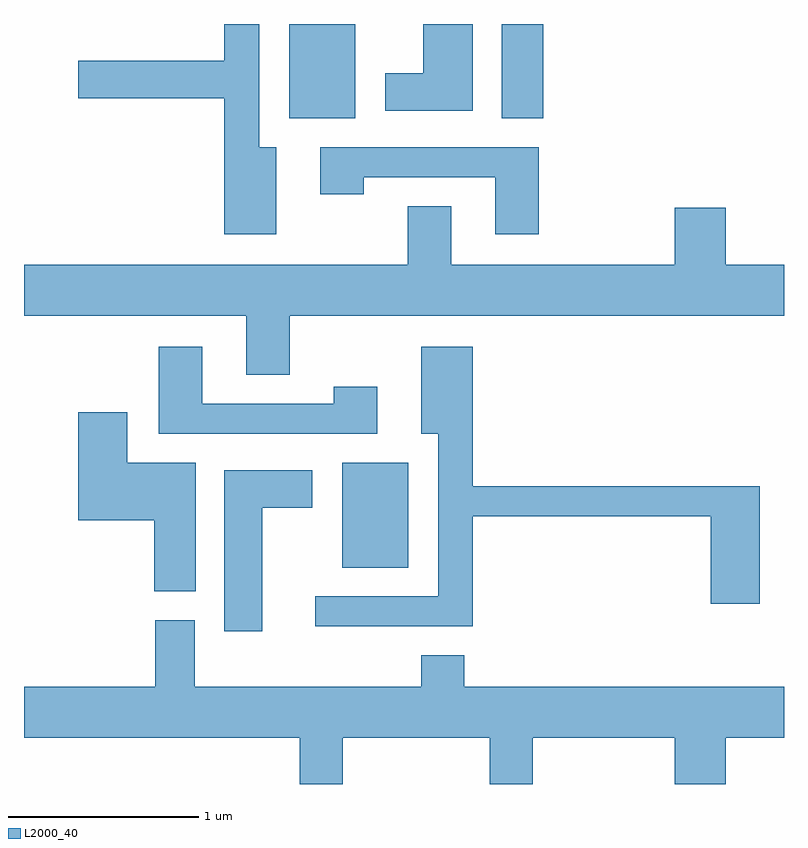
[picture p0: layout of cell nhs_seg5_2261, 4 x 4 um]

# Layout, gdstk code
import gdstk
lib = gdstk.Library(unit=1e-6, precision=1e-09)
def R(c, l, rs):  # rectangles x0, y0, x1, y1
    for r in rs: c.add(gdstk.rectangle(r[:2], r[2:], *l))
def P(c, l, *ps):  # polygons
    for p in ps: c.add(gdstk.Polygon(p, *l))
L2000_40 = (2000, 40)

nhs_seg5_2261 = lib.new_cell('nhs_seg5_2261')
R(nhs_seg5_2261, L2000_40, [(253.286,1493.211,253.634,1493.764), (253.006,1495.576,253.354,1496.072), (254.126,1495.576,254.344,1496.072)])
P(nhs_seg5_2261, L2000_40, [(252.939,1495.424),(252.849,1495.424),(252.849,1496.072),(252.666,1496.072),(252.666,1495.879),(251.896,1495.879),(251.896,1495.681),(252.666,1495.681),(252.666,1494.966),(252.939,1494.966)],
  [(253.974,1496.072),(253.711,1496.072),(253.711,1495.814),(253.511,1495.814),(253.511,1495.616),(253.974,1495.616)],
  [(254.319,1495.424),(253.171,1495.424),(253.171,1495.176),(253.399,1495.176),(253.399,1495.266),(254.091,1495.266),(254.091,1494.966),(254.319,1494.966)],
  [(253.009,1494.536),(255.611,1494.536),(255.611,1494.804),(255.304,1494.804),(255.304,1495.104),(255.036,1495.104),(255.036,1494.804),(253.859,1494.804),(253.859,1495.114),(253.631,1495.114),(253.631,1494.804),(251.611,1494.804),(251.611,1494.536),(252.781,1494.536),(252.781,1494.226),(253.009,1494.226)],
  [(253.469,1494.164),(253.241,1494.164),(253.241,1494.074),(252.549,1494.074),(252.549,1494.374),(252.321,1494.374),(252.321,1493.916),(253.469,1493.916)],
  [(253.974,1493.481),(255.226,1493.481),(255.226,1493.021),(255.484,1493.021),(255.484,1493.639),(253.974,1493.639),(253.974,1494.374),(253.701,1494.374),(253.701,1493.916),(253.791,1493.916),(253.791,1493.059),(253.143,1493.059),(253.143,1492.901),(253.974,1492.901)],
  [(252.514,1493.764),(252.154,1493.764),(252.154,1494.029),(251.896,1494.029),(251.896,1493.461),(252.296,1493.461),(252.296,1493.086),(252.514,1493.086)],
  [(252.864,1493.526),(253.129,1493.526),(253.129,1493.724),(252.666,1493.724),(252.666,1492.876),(252.864,1492.876)],
  [(253.289,1492.316),(254.061,1492.316),(254.061,1492.072),(254.289,1492.072),(254.289,1492.316),(255.036,1492.316),(255.036,1492.072),(255.304,1492.072),(255.304,1492.316),(255.611,1492.316),(255.611,1492.584),(253.929,1492.584),(253.929,1492.749),(253.701,1492.749),(253.701,1492.584),(252.509,1492.584),(252.509,1492.934),(252.301,1492.934),(252.301,1492.584),(251.611,1492.584),(251.611,1492.316),(253.061,1492.316),(253.061,1492.072),(253.289,1492.072)])

lib.write_gds('nhs_seg5_2261.gds')
